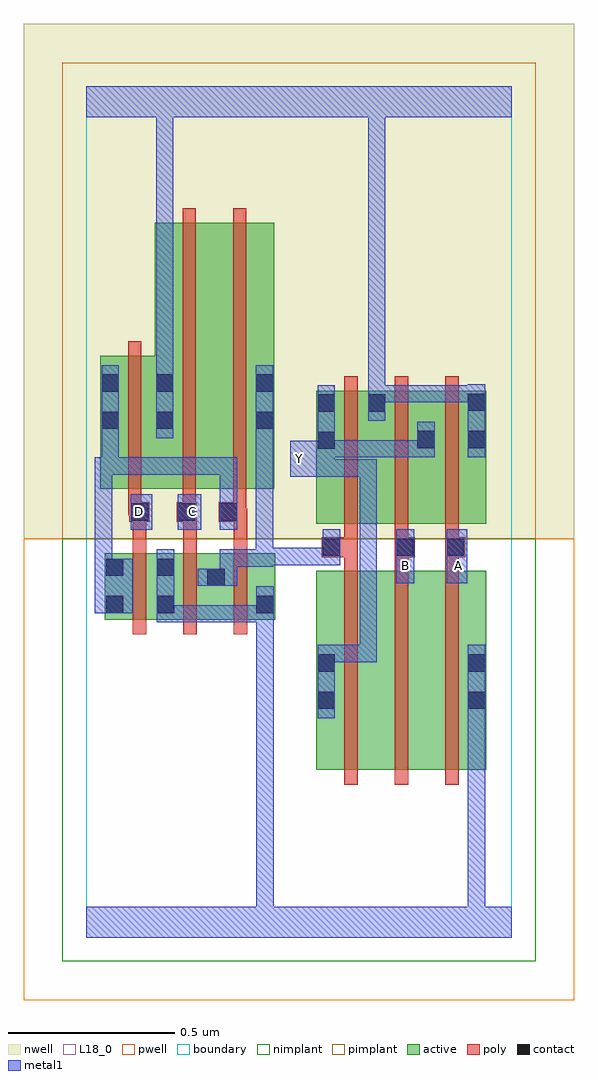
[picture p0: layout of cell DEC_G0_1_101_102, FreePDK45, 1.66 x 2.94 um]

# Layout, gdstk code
import gdstk
lib = gdstk.Library(unit=1e-6, precision=1e-09)
def R(c, l, rs):  # rectangles x0, y0, x1, y1
    for r in rs: c.add(gdstk.rectangle(r[:2], r[2:], *l))
def A(c, l, x, y, w, h, nx, ny, dx, dy):  # array of equal rectangles
    R(c, l, [(x+i*dx, y+j*dy, x+i*dx+w, y+j*dy+h) for i in range(nx) for j in range(ny)])
active = (1, 0)
pwell = (2, 0)
nwell = (3, 0)
nimplant = (4, 0)
pimplant = (5, 0)
poly = (9, 0)
contact = (10, 0)
metal1 = (11, 0)
L18_0 = (18, 0)
boundary = (235, 0)

dec_g0_1_101_102 = lib.new_cell('DEC_G0_1_101_102')
R(dec_g0_1_101_102, active, [(0.692,0.504,0.872,1.104), (0.692,0.504,0.752,1.104), (0.872,0.504,1.024,1.104), (1.024,0.504,1.204,1.104), (1.144,0.556,1.204,1.104), (0.056,0.956,0.116,1.156), (0.056,0.956,0.268,1.156), (0.208,0.956,0.268,1.156), (0.208,0.956,0.42,1.156), (0.36,0.956,0.568,1.156), (0.36,0.956,0.42,1.114), (0.508,0.956,0.568,1.156), (0.692,1.244,0.752,1.644), (0.692,1.244,0.904,1.644), (0.844,1.244,1.052,1.644), (0.992,1.244,1.052,1.644), (0.992,1.244,1.204,1.644), (1.144,1.244,1.204,1.644), (0.042,1.35,0.102,1.75), (0.042,1.35,0.266,1.75), (0.206,1.35,0.386,2.15), (0.386,1.35,0.566,2.15), (0.506,1.35,0.566,2.044), (0.206,1.526,0.266,2.15), (0.844,1.578,0.904,1.644)])
R(dec_g0_1_101_102, pwell, [(-0.188,-0.188,1.468,1.2)])
R(dec_g0_1_101_102, nwell, [(-0.188,1.2,1.468,2.748)])
R(dec_g0_1_101_102, nimplant, [(-0.072,-0.072,1.352,1.2)])
R(dec_g0_1_101_102, pimplant, [(-0.072,1.2,1.352,2.632)])
A(dec_g0_1_101_102, poly, 0.776, 0.46, 0.04, 0.688, 3, 1, 0.152, 0)
A(dec_g0_1_101_102, poly, 0.14, 0.912, 0.04, 0.288, 3, 1, 0.152, 0)
A(dec_g0_1_101_102, poly, 0.776, 1.108, 0.04, 0.076, 3, 2, 0.152, 0.056)
A(dec_g0_1_101_102, poly, 0.14, 1.16, 0.04, 0.13, 3, 1, 0.152, 0)
A(dec_g0_1_101_102, poly, 0.776, 1.2, 0.04, 0.488, 3, 1, 0.152, 0)
R(dec_g0_1_101_102, poly, [(0.708,1.144,0.816,1.204), (0.928,1.144,0.968,1.184), (0.928,1.144,0.968,1.184), (0.928,1.144,0.988,1.204), (1.08,1.144,1.12,1.184), (1.08,1.144,1.12,1.184), (1.08,1.144,1.14,1.204), (0.776,1.164,0.816,1.204), (0.776,1.164,0.816,1.204), (0.13,1.25,0.19,1.31), (0.272,1.25,0.332,1.31), (0.398,1.25,0.482,1.31), (0.442,1.25,0.482,1.29), (0.442,1.25,0.484,1.29), (0.126,1.27,0.166,1.346), (0.126,1.27,0.17,1.31), (0.13,1.27,0.17,1.31), (0.29,1.27,0.33,1.346), (0.29,1.27,0.33,1.31), (0.29,1.27,0.33,1.31), (0.442,1.27,0.482,1.346), (0.126,1.306,0.166,1.794), (0.29,1.306,0.33,2.194), (0.442,1.306,0.482,2.194)])
R(dec_g0_1_101_102, contact, [(0.696,0.688,0.748,0.74), (1.148,0.688,1.2,0.74), (0.696,0.8,0.748,0.852), (1.148,0.8,1.2,0.852), (0.06,0.976,0.112,1.028), (0.212,0.976,0.264,1.028), (0.512,0.976,0.564,1.028), (0.364,1.058,0.416,1.11), (0.06,1.088,0.112,1.14), (0.212,1.088,0.264,1.14), (0.712,1.148,0.764,1.2), (0.932,1.148,0.984,1.2), (1.084,1.148,1.136,1.2), (0.134,1.254,0.186,1.306), (0.276,1.254,0.328,1.306), (0.402,1.254,0.454,1.306), (0.696,1.47,0.748,1.522), (0.996,1.472,1.048,1.524), (1.148,1.472,1.2,1.524), (0.046,1.53,0.098,1.582), (0.21,1.53,0.262,1.582), (0.51,1.53,0.562,1.582), (0.696,1.582,0.748,1.634), (0.848,1.582,0.9,1.634), (1.148,1.584,1.2,1.636), (0.046,1.642,0.098,1.694), (0.21,1.642,0.262,1.694), (0.51,1.642,0.562,1.694)])
R(dec_g0_1_101_102, metal1, [(0,0,1.28,0.092), (0.512,0.04,0.564,0.092), (0.512,0.04,0.564,0.092), (0.512,0.04,0.564,0.092), (0.512,0.04,0.564,0.092), (0.512,0.04,0.564,0.092), (0.512,0.04,0.564,0.092), (0.512,0.04,0.564,0.092), (0.512,0.04,0.564,0.092), (0.512,0.04,0.564,0.092), (0.512,0.04,0.564,0.092), (0.512,0.04,0.564,1), (1.148,0.04,1.2,0.092), (1.148,0.04,1.2,0.092), (1.148,0.04,1.2,0.092), (1.148,0.04,1.2,0.092), (1.148,0.04,1.2,0.092), (1.148,0.04,1.2,0.092), (1.148,0.04,1.2,0.712), (0.696,0.66,0.748,0.88), (1.148,0.66,1.2,0.88), (1.148,0.66,1.2,0.712), (1.148,0.66,1.2,0.712), (0.696,0.828,0.748,0.88), (0.696,0.828,0.748,0.88), (0.696,0.828,0.874,0.88), (0.822,0.828,0.874,0.88), (0.822,0.828,0.874,0.88), (0.822,0.828,0.874,0.88), (0.822,0.828,0.874,1.438), (0.212,0.948,0.264,1.168), (0.212,0.948,0.264,1), (0.212,0.948,0.264,1), (0.212,0.948,0.452,1), (0.4,0.948,0.452,1), (0.4,0.948,0.556,1), (0.504,0.948,0.556,1), (0.504,0.948,0.564,1), (0.512,0.948,0.564,1), (0.512,0.948,0.564,1), (0.512,0.948,0.564,1), (0.512,0.948,0.564,1), (0.512,0.948,0.564,1), (0.512,0.948,0.564,1), (0.512,0.948,0.564,1.056), (0.026,0.976,0.14,1.14), (0.336,1.058,0.454,1.11), (0.402,1.058,0.454,1.168), (0.932,1.066,0.986,1.228), (1.084,1.066,1.146,1.228), (0.026,1.088,0.078,1.444), (0.402,1.116,0.454,1.168), (0.402,1.116,0.556,1.168), (0.504,1.116,0.556,1.168), (0.504,1.116,0.562,1.168), (0.51,1.116,0.562,1.172), (0.51,1.12,0.562,1.172), (0.51,1.12,0.562,1.172), (0.51,1.12,0.764,1.172), (0.51,1.12,0.562,1.554), (0.712,1.12,0.764,1.172), (0.712,1.12,0.764,1.172), (0.712,1.12,0.764,1.228), (0.134,1.226,0.198,1.334), (0.276,1.226,0.346,1.334), (0.402,1.226,0.454,1.334), (0.402,1.282,0.454,1.334), (0.402,1.282,0.454,1.444), (0.614,1.386,0.748,1.494), (0.696,1.386,0.748,1.438), (0.696,1.386,0.748,1.438), (0.696,1.386,0.874,1.438), (0.822,1.386,0.874,1.438), (0.026,1.392,0.078,1.444), (0.026,1.392,0.078,1.444), (0.026,1.392,0.098,1.444), (0.046,1.392,0.098,1.444), (0.046,1.392,0.098,1.444), (0.046,1.392,0.098,1.554), (0.046,1.392,0.278,1.444), (0.226,1.392,0.278,1.444), (0.226,1.392,0.278,1.444), (0.226,1.392,0.278,1.444), (0.226,1.392,0.454,1.444), (0.696,1.442,0.748,1.662), (0.696,1.442,0.748,1.494), (0.696,1.444,0.748,1.496), (0.696,1.444,0.748,1.496), (0.696,1.444,0.938,1.496), (0.886,1.444,1.048,1.496), (0.886,1.444,0.938,1.496), (0.886,1.444,0.938,1.496), (0.886,1.444,0.938,1.496), (0.996,1.444,1.048,1.552), (1.148,1.444,1.2,1.664), (0.046,1.502,0.098,1.722), (0.21,1.502,0.262,1.722), (0.51,1.502,0.562,1.722), (0.848,1.554,0.9,1.662), (0.848,1.61,0.9,1.662), (0.848,1.61,0.9,1.662), (0.848,1.61,0.9,1.662), (0.848,1.61,0.9,1.662), (0.848,1.61,0.9,1.662), (0.848,1.61,0.9,1.662), (0.848,1.61,0.9,1.662), (0.848,1.61,0.9,1.662), (0.848,1.61,1.09,1.662), (0.848,1.61,0.9,2.52), (1.038,1.61,1.2,1.662), (1.038,1.61,1.09,1.662), (1.038,1.61,1.09,1.662), (1.038,1.61,1.09,1.662), (0.21,1.67,0.262,2.52), (0,2.468,1.28,2.56), (0.21,2.468,0.262,2.52), (0.21,2.468,0.262,2.52), (0.21,2.468,0.262,2.52), (0.21,2.468,0.262,2.52), (0.21,2.468,0.262,2.52), (0.21,2.468,0.262,2.52), (0.21,2.468,0.262,2.52), (0.21,2.468,0.262,2.52), (0.848,2.468,0.9,2.52), (0.848,2.468,0.9,2.52), (0.848,2.468,0.9,2.52), (0.848,2.468,0.9,2.52), (0.848,2.468,0.9,2.52), (0.848,2.468,0.9,2.52), (0.848,2.468,0.9,2.52), (0.848,2.468,0.9,2.52), (0.848,2.468,0.9,2.52), (0.848,2.468,0.9,2.52)])
R(dec_g0_1_101_102, L18_0, [(0,0,1.28,0.092), (0.512,0.04,0.564,0.092), (0.512,0.04,0.564,0.092), (0.512,0.04,0.564,0.092), (0.512,0.04,0.564,0.092), (0.512,0.04,0.564,0.092), (0.512,0.04,0.564,0.092), (0.512,0.04,0.564,0.092), (0.512,0.04,0.564,0.092), (0.512,0.04,0.564,0.092), (0.512,0.04,0.564,0.092), (0.512,0.04,0.564,1), (1.148,0.04,1.2,0.092), (1.148,0.04,1.2,0.092), (1.148,0.04,1.2,0.092), (1.148,0.04,1.2,0.092), (1.148,0.04,1.2,0.092), (1.148,0.04,1.2,0.092), (1.148,0.04,1.2,0.712), (0.696,0.66,0.748,0.88), (1.148,0.66,1.2,0.88), (1.148,0.66,1.2,0.712), (1.148,0.66,1.2,0.712), (0.696,0.828,0.748,0.88), (0.696,0.828,0.748,0.88), (0.696,0.828,0.874,0.88), (0.822,0.828,0.874,0.88), (0.822,0.828,0.874,0.88), (0.822,0.828,0.874,0.88), (0.822,0.828,0.874,1.438), (0.212,0.948,0.264,1.168), (0.212,0.948,0.264,1), (0.212,0.948,0.264,1), (0.212,0.948,0.452,1), (0.4,0.948,0.452,1), (0.4,0.948,0.556,1), (0.504,0.948,0.556,1), (0.504,0.948,0.564,1), (0.512,0.948,0.564,1), (0.512,0.948,0.564,1), (0.512,0.948,0.564,1), (0.512,0.948,0.564,1), (0.512,0.948,0.564,1), (0.512,0.948,0.564,1), (0.512,0.948,0.564,1.056), (0.932,1.066,0.986,1.228), (1.084,1.066,1.146,1.228), (0.934,1.094,0.986,1.146), (1.094,1.094,1.146,1.146), (0.134,1.226,0.198,1.334), (0.276,1.226,0.346,1.334), (0.134,1.254,0.186,1.306), (0.294,1.254,0.346,1.306), (0.614,1.386,0.748,1.494), (0.696,1.386,0.748,1.438), (0.696,1.386,0.748,1.438), (0.696,1.386,0.874,1.438), (0.822,1.386,0.874,1.438), (0.614,1.414,0.666,1.466), (0.696,1.442,0.748,1.662), (0.696,1.442,0.748,1.494), (0.696,1.444,0.748,1.496), (0.696,1.444,0.748,1.496), (0.696,1.444,0.938,1.496), (0.886,1.444,0.938,1.496), (0.886,1.444,0.938,1.496), (0.886,1.444,0.938,1.496), (0.886,1.444,1.048,1.496), (0.996,1.444,1.048,1.552), (1.148,1.444,1.2,1.664), (0.21,1.502,0.262,1.722), (0.848,1.554,0.9,1.662), (0.848,1.61,0.9,1.662), (0.848,1.61,0.9,1.662), (0.848,1.61,0.9,1.662), (0.848,1.61,0.9,1.662), (0.848,1.61,0.9,1.662), (0.848,1.61,0.9,1.662), (0.848,1.61,0.9,1.662), (0.848,1.61,0.9,1.662), (0.848,1.61,1.09,1.662), (0.848,1.61,0.9,2.52), (1.038,1.61,1.09,1.662), (1.038,1.61,1.09,1.662), (1.038,1.61,1.09,1.662), (1.038,1.61,1.2,1.662), (0.21,1.67,0.262,2.52), (0,2.468,1.28,2.56), (0.21,2.468,0.262,2.52), (0.21,2.468,0.262,2.52), (0.21,2.468,0.262,2.52), (0.21,2.468,0.262,2.52), (0.21,2.468,0.262,2.52), (0.21,2.468,0.262,2.52), (0.21,2.468,0.262,2.52), (0.21,2.468,0.262,2.52), (0.848,2.468,0.9,2.52), (0.848,2.468,0.9,2.52), (0.848,2.468,0.9,2.52), (0.848,2.468,0.9,2.52), (0.848,2.468,0.9,2.52), (0.848,2.468,0.9,2.52), (0.848,2.468,0.9,2.52), (0.848,2.468,0.9,2.52), (0.848,2.468,0.9,2.52), (0.848,2.468,0.9,2.52)])
R(dec_g0_1_101_102, boundary, [(0,0,1.28,2.56)])
dec_g0_1_101_102.add(gdstk.Label('A', (1.12,1.12), layer=11, texttype=0))
dec_g0_1_101_102.add(gdstk.Label('B', (0.96,1.12), layer=11, texttype=0))
dec_g0_1_101_102.add(gdstk.Label('C', (0.32,1.28), layer=11, texttype=0))
dec_g0_1_101_102.add(gdstk.Label('D', (0.16,1.28), layer=11, texttype=0))
dec_g0_1_101_102.add(gdstk.Label('Y', (0.64,1.44), layer=11, texttype=0))

lib.write_gds('DEC_G0_1_101_102.gds')
